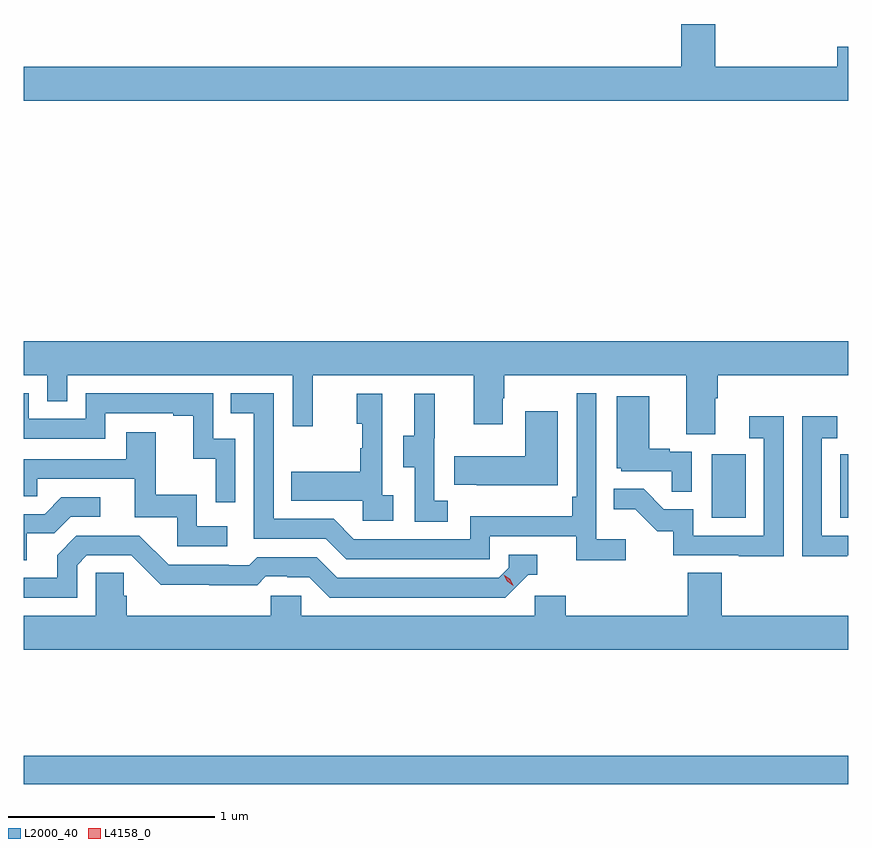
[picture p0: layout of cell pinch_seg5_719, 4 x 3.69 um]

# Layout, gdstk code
import gdstk
lib = gdstk.Library(unit=1e-6, precision=1e-09)
def R(c, l, rs):  # rectangles x0, y0, x1, y1
    for r in rs: c.add(gdstk.rectangle(r[:2], r[2:], *l))
def P(c, l, *ps):  # polygons
    for p in ps: c.add(gdstk.Polygon(p, *l))
L2000_40 = (2000, 40)
L4158_0 = (4158, 0)

pinch_seg5_719 = lib.new_cell('pinch_seg5_719')
R(pinch_seg5_719, L2000_40, [(1080.66,844.12,1084.66,844.256), (1083.998,845.412,1084.162,845.719), (1084.622,845.412,1084.66,845.719)])
P(pinch_seg5_719, L2000_40, [(1084.66,847.698),(1084.607,847.698),(1084.607,847.6),(1084.016,847.6),(1084.016,847.808),(1083.851,847.808),(1083.851,847.6),(1080.66,847.6),(1080.66,847.436),(1084.66,847.436)],
  [(1084.015,845.992),(1084.028,845.992),(1084.028,846.104),(1084.66,846.104),(1084.66,846.268),(1080.66,846.268),(1080.66,846.104),(1080.774,846.104),(1080.774,845.977),(1080.87,845.977),(1080.87,846.104),(1081.965,846.104),(1081.965,845.856),(1082.063,845.856),(1082.063,846.104),(1082.843,846.104),(1082.843,845.865),(1082.983,845.865),(1082.983,845.993),(1082.991,845.993),(1082.991,846.104),(1083.875,846.104),(1083.875,845.818),(1084.015,845.818)],
  [(1083.58,845.308),(1083.438,845.308),(1083.438,846.016),(1083.342,846.016),(1083.342,845.515),(1083.322,845.515),(1083.322,845.419),(1082.826,845.419),(1082.826,845.307),(1082.262,845.307),(1082.163,845.406),(1081.872,845.406),(1081.872,846.015),(1081.663,846.015),(1081.663,845.919),(1081.776,845.919),(1081.776,845.31),(1082.126,845.31),(1082.225,845.211),(1082.922,845.211),(1082.922,845.322),(1083.341,845.322),(1083.341,845.206),(1083.58,845.206)],
  [(1081.686,845.796),(1081.578,845.796),(1081.578,846.015),(1080.96,846.015),(1080.96,845.892),(1080.684,845.892),(1080.684,846.015),(1080.66,846.015),(1080.66,845.796),(1081.056,845.796),(1081.056,845.919),(1081.385,845.919),(1081.385,845.907),(1081.481,845.907),(1081.481,845.699),(1081.59,845.699),(1081.59,845.487),(1081.686,845.487)],
  [(1082.716,845.495),(1082.652,845.495),(1082.652,845.799),(1082.654,845.799),(1082.654,846.013),(1082.555,846.013),(1082.555,845.811),(1082.501,845.811),(1082.501,845.656),(1082.556,845.656),(1082.556,845.392),(1082.716,845.392)],
  [(1082.452,845.522),(1082.4,845.522),(1082.4,846.013),(1082.276,846.013),(1082.276,845.868),(1082.302,845.868),(1082.302,845.75),(1082.292,845.75),(1082.292,845.635),(1081.957,845.635),(1081.957,845.495),(1082.304,845.495),(1082.304,845.397),(1082.452,845.397)],
  [(1083.9,845.733),(1083.794,845.733),(1083.794,845.746),(1083.694,845.746),(1083.694,846.001),(1083.536,846.001),(1083.536,845.652),(1083.558,845.652),(1083.558,845.637),(1083.805,845.637),(1083.805,845.539),(1083.9,845.539)],
  [(1083.25,845.929),(1083.092,845.929),(1083.092,845.71),(1082.749,845.71),(1082.749,845.573),(1082.857,845.573),(1082.857,845.57),(1083.25,845.57)],
  [(1084.347,845.905),(1084.179,845.905),(1084.179,845.799),(1084.251,845.799),(1084.251,845.325),(1083.909,845.325),(1083.909,845.454),(1083.765,845.454),(1083.667,845.552),(1083.523,845.552),(1083.523,845.453),(1083.627,845.453),(1083.734,845.346),(1083.811,845.346),(1083.811,845.229),(1084.129,845.229),(1084.129,845.224),(1084.347,845.224)],
  [(1084.655,845.229),(1084.66,845.229),(1084.66,845.325),(1084.533,845.325),(1084.533,845.799),(1084.606,845.799),(1084.606,845.905),(1084.437,845.905),(1084.437,845.224),(1084.655,845.224)],
  [(1081.648,845.37),(1081.5,845.37),(1081.5,845.524),(1081.301,845.524),(1081.301,845.827),(1081.157,845.827),(1081.157,845.697),(1080.66,845.697),(1080.66,845.517),(1080.725,845.517),(1080.725,845.601),(1081.199,845.601),(1081.199,845.415),(1081.404,845.415),(1081.404,845.274),(1081.648,845.274)],
  [(1080.673,845.338),(1080.808,845.338),(1080.888,845.418),(1081.03,845.418),(1081.03,845.511),(1080.842,845.511),(1080.761,845.43),(1080.66,845.43),(1080.66,845.206),(1080.673,845.206)],
  [(1080.918,845.181),(1080.966,845.229),(1081.182,845.229),(1081.324,845.087),(1081.56,845.087),(1081.56,845.085),(1081.793,845.085),(1081.835,845.127),(1081.938,845.127),(1081.938,845.124),(1082.045,845.124),(1082.144,845.025),(1082.997,845.025),(1083.108,845.136),(1083.151,845.136),(1083.151,845.232),(1083.012,845.232),(1083.012,845.169),(1082.964,845.121),(1082.181,845.121),(1082.082,845.22),(1081.793,845.22),(1081.754,845.181),(1081.655,845.181),(1081.655,845.184),(1081.362,845.184),(1081.221,845.325),(1080.915,845.325),(1080.821,845.231),(1080.821,845.121),(1080.66,845.121),(1080.66,845.025),(1080.918,845.025)],
  [(1084.66,844.936),(1084.046,844.936),(1084.046,845.144),(1083.881,845.144),(1083.881,844.936),(1083.29,844.936),(1083.29,845.034),(1083.138,845.034),(1083.138,844.936),(1082.007,844.936),(1082.007,845.034),(1081.857,845.034),(1081.857,844.936),(1081.16,844.936),(1081.16,845.034),(1081.145,845.034),(1081.145,845.144),(1081.008,845.144),(1081.008,844.936),(1080.66,844.936),(1080.66,844.772),(1084.66,844.772)])
P(pinch_seg5_719, L4158_0, [(1083.036,845.083),(1083.005,845.103),(1082.988,845.135),(1082.988,845.135),(1082.988,845.135),(1083.019,845.116),(1083.036,845.084),(1083.036,845.083)])

lib.write_gds('pinch_seg5_719.gds')
